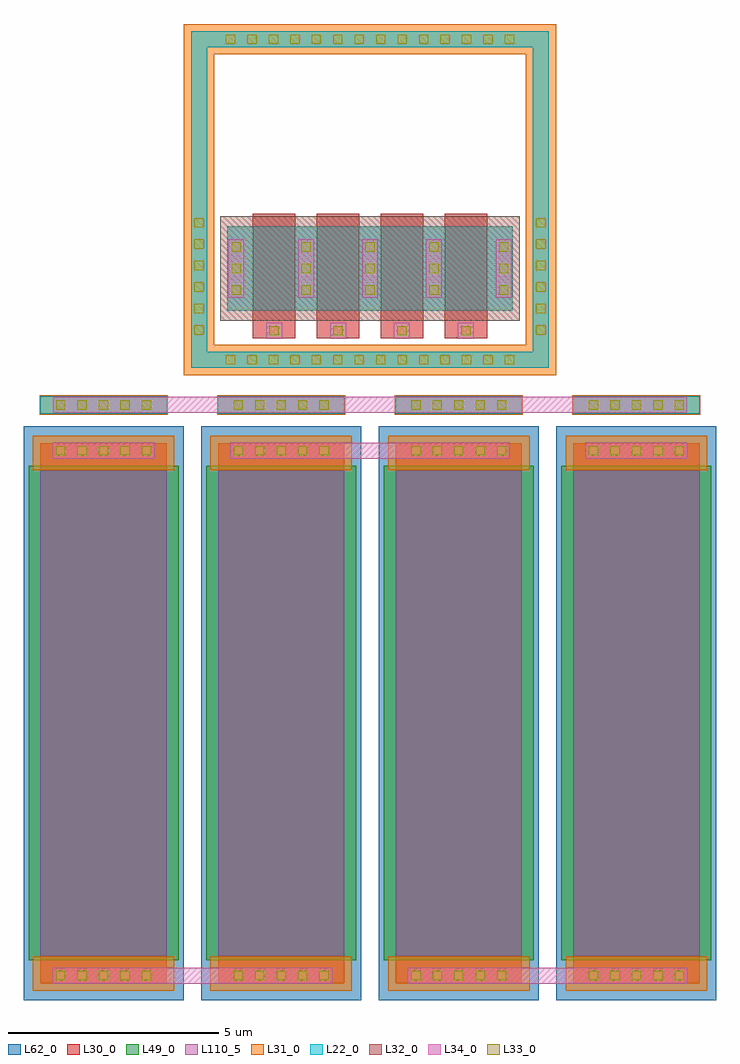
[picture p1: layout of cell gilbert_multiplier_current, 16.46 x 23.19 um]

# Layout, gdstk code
from math import pi, radians
import gdstk
lib = gdstk.Library(unit=1e-6, precision=5e-09)
def R(c, l, rs):  # rectangles x0, y0, x1, y1
    for r in rs: c.add(gdstk.rectangle(r[:2], r[2:], *l))
def A(c, l, x, y, w, h, nx, ny, dx, dy):  # array of equal rectangles
    R(c, l, [(x+i*dx, y+j*dy, x+i*dx+w, y+j*dy+h) for i in range(nx) for j in range(ny)])
def P(c, l, *ps):  # polygons
    for p in ps: c.add(gdstk.Polygon(p, *l))
L22_0 = (22, 0)
L30_0 = (30, 0)
L31_0 = (31, 0)
L32_0 = (32, 0)
L33_0 = (33, 0)
L34_0 = (34, 0)
L49_0 = (49, 0)
L62_0 = (62, 0)
L110_5 = (110, 5)

ppolyf_u_high_rs_resisto = lib.new_cell('ppolyf_u_high_Rs_resistor')
R(ppolyf_u_high_rs_resisto, L22_0, [(-1.76,0,-1.34,3)])
R(ppolyf_u_high_rs_resisto, L30_0, [(-0.64,0,12.19,3)])
R(ppolyf_u_high_rs_resisto, L31_0, [(-0.82,-0.18,0,3.18), (11.55,-0.18,12.37,3.18), (-1.78,-0.02,-1.32,3.02)])
A(ppolyf_u_high_rs_resisto, L33_0, -1.66, 0.37, 0.22, 0.22, 1, 5, 0, 0.51)
A(ppolyf_u_high_rs_resisto, L33_0, -0.57, 0.37, 0.22, 0.22, 1, 5, 0, 0.51)
A(ppolyf_u_high_rs_resisto, L33_0, 11.9, 0.37, 0.22, 0.22, 1, 5, 0, 0.51)
R(ppolyf_u_high_rs_resisto, L34_0, [(-1.74,0.29,-1.36,2.71), (-0.65,0.29,-0.27,2.71), (11.82,0.29,12.2,2.71)])
R(ppolyf_u_high_rs_resisto, L49_0, [(-0.1,-0.28,11.65,3.28)])
R(ppolyf_u_high_rs_resisto, L62_0, [(-1.04,-0.4,12.59,3.4)])
R(ppolyf_u_high_rs_resisto, L110_5, [(0,0,11.55,3)])

gilbert_multiplier_curre = lib.new_cell('gilbert_multiplier_current')
R(gilbert_multiplier_curre, L22_0, [(9.65,18.03,10.07,20.03), (9.65,18.03,10.07,20.03), (10.07,18.03,16.01,20.03), (10.07,18.03,16.01,20.03), (16.01,18.03,16.43,20.03), (16.01,18.03,16.43,20.03)])
P(gilbert_multiplier_curre, L22_0, [(8.79,16.67),(8.79,24.29),(9.17,24.29),(9.17,17.05),(16.91,17.05),(16.91,24.29),(8.79,24.29),(8.79,24.67),(17.29,24.67),(17.29,16.67)])
R(gilbert_multiplier_curre, L30_0, [(10.26,17.37,11.26,17.73), (10.26,17.37,11.26,17.73), (11.78,17.37,12.78,17.73), (11.78,17.37,12.78,17.73), (13.3,17.37,14.3,17.73), (13.3,17.37,14.3,17.73), (14.82,17.37,15.82,17.73), (14.82,17.37,15.82,17.73), (10.26,17.73,11.26,20.33), (10.26,17.73,11.26,20.33), (11.78,17.73,12.78,20.33), (11.78,17.73,12.78,20.33), (13.3,17.73,14.3,20.33), (13.3,17.73,14.3,20.33), (14.82,17.73,15.82,20.33), (14.82,17.73,15.82,20.33)])
P(gilbert_multiplier_curre, L31_0, [(8.62,16.5),(8.62,24.12),(9.34,24.12),(9.34,17.22),(16.74,17.22),(16.74,24.12),(8.62,24.12),(8.62,24.84),(17.46,24.84),(17.46,16.5)])
R(gilbert_multiplier_curre, L32_0, [(9.48,17.79,16.6,20.27), (9.48,17.79,16.6,20.27)])
A(gilbert_multiplier_curre, L33_0, 9.615, 16.75, 0.22, 0.22, 14, 2, 0.51, 7.62)
A(gilbert_multiplier_curre, L33_0, 8.87, 17.46, 0.22, 0.22, 1, 6, 0, 0.51)
A(gilbert_multiplier_curre, L33_0, 16.99, 17.46, 0.22, 0.22, 1, 6, 0, 0.51)
R(gilbert_multiplier_curre, L33_0, [(10.65,17.44,10.87,17.66), (10.65,17.44,10.87,17.66), (12.17,17.44,12.39,17.66), (12.17,17.44,12.39,17.66), (13.69,17.44,13.91,17.66), (13.69,17.44,13.91,17.66), (15.21,17.44,15.43,17.66), (15.21,17.44,15.43,17.66), (9.75,18.41,9.97,18.63), (9.75,18.41,9.97,18.63), (11.41,18.41,11.63,18.63), (11.41,18.41,11.63,18.63), (12.93,18.41,13.15,18.63), (12.93,18.41,13.15,18.63), (14.45,18.41,14.67,18.63), (14.45,18.41,14.67,18.63), (16.11,18.41,16.33,18.63), (16.11,18.41,16.33,18.63), (9.75,18.92,9.97,19.14), (9.75,18.92,9.97,19.14), (11.41,18.92,11.63,19.14), (11.41,18.92,11.63,19.14), (12.93,18.92,13.15,19.14), (12.93,18.92,13.15,19.14), (14.45,18.92,14.67,19.14), (14.45,18.92,14.67,19.14), (16.11,18.92,16.33,19.14), (16.11,18.92,16.33,19.14), (9.75,19.43,9.97,19.65), (9.75,19.43,9.97,19.65), (11.41,19.43,11.63,19.65), (11.41,19.43,11.63,19.65), (12.93,19.43,13.15,19.65), (12.93,19.43,13.15,19.65), (14.45,19.43,14.67,19.65), (14.45,19.43,14.67,19.65), (16.11,19.43,16.33,19.65), (16.11,19.43,16.33,19.65)])
R(gilbert_multiplier_curre, L34_0, [(5.5,2.04,12.14,2.42), (13.94,2.04,20.58,2.42), (9.72,14.51,16.36,14.89), (5.5,15.6,20.58,15.98), (10.57,17.36,10.95,17.74), (10.57,17.36,10.95,17.74), (12.09,17.36,12.47,17.74), (12.09,17.36,12.47,17.74), (13.61,17.36,13.99,17.74), (13.61,17.36,13.99,17.74), (15.13,17.36,15.51,17.74), (15.13,17.36,15.51,17.74), (9.67,18.33,10.05,19.73), (9.67,18.33,10.05,19.73), (11.33,18.33,11.71,19.73), (11.33,18.33,11.71,19.73), (12.85,18.33,13.23,19.73), (12.85,18.33,13.23,19.73), (14.37,18.33,14.75,19.73), (14.37,18.33,14.75,19.73), (16.03,18.33,16.41,19.73), (16.03,18.33,16.41,19.73)])
gilbert_multiplier_curre.add(gdstk.Reference(ppolyf_u_high_rs_resisto, (9.43,14.24), rotation=3*pi/2))
gilbert_multiplier_curre.add(gdstk.Reference(ppolyf_u_high_rs_resisto, (13.65,14.24), rotation=3*pi/2))
gilbert_multiplier_curre.add(gdstk.Reference(ppolyf_u_high_rs_resisto, (17.87,14.24), rotation=3*pi/2))
gilbert_multiplier_curre.add(gdstk.Reference(ppolyf_u_high_rs_resisto, (5.21,14.24), rotation=3*pi/2))
gilbert_multiplier_curre.add(gdstk.Label('I_o_p', (24.65,32.7), layer=34, texttype=10))
gilbert_multiplier_curre.add(gdstk.Label('I_o_n', (24.65,33.725), layer=34, texttype=10))
gilbert_multiplier_curre.add(gdstk.Label('V_w_n', (24.85,30.92), layer=34, texttype=10))
gilbert_multiplier_curre.add(gdstk.Label('V_tail', (26.11,19.6), layer=34, texttype=10))
gilbert_multiplier_curre.add(gdstk.Label('VSS', (1.39,15.77), layer=34, texttype=10))
gilbert_multiplier_curre.add(gdstk.Label('V_x_p', (1.655,24.585), layer=34, texttype=10))
gilbert_multiplier_curre.add(gdstk.Label('V_x_n', (24.66,24.585), layer=34, texttype=10))
gilbert_multiplier_curre.add(gdstk.Label('V_w_p', (1.655,29.15), layer=34, texttype=10))

lib.write_gds('gilbert_multiplier_current.gds')
